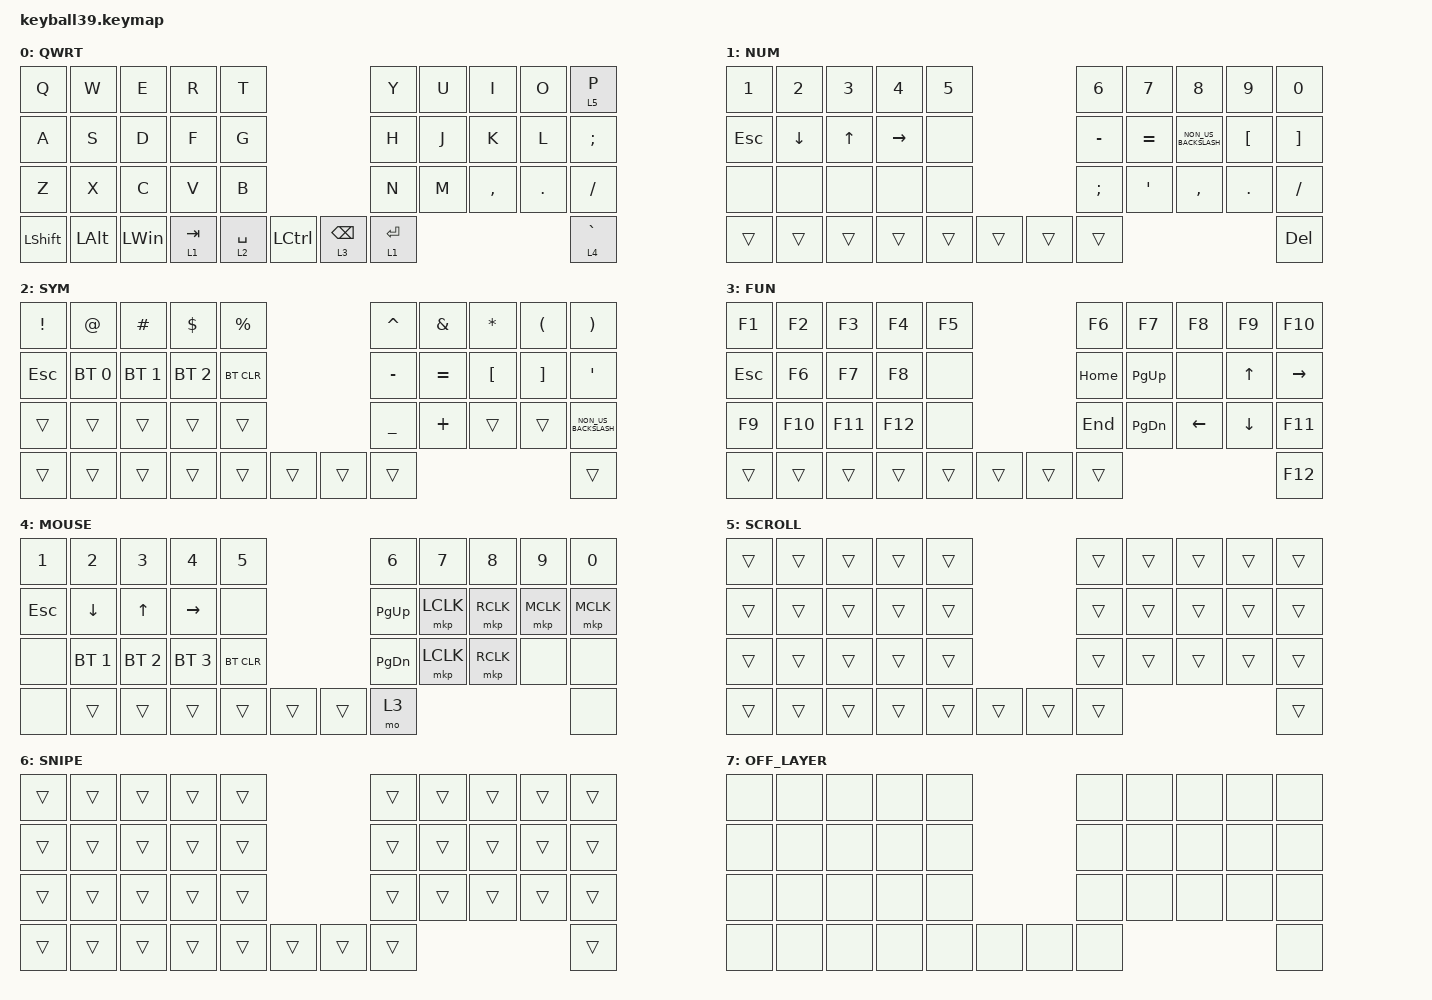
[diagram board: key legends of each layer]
#define DEFAULT 0
#define NUM     1
#define SYM     2
#define FUN     3
#define MOUSE   4
#define SCROLL  5
#define SNIPE   6

#include <behaviors/mouse_keys.dtsi>
#include <behaviors.dtsi>
#include <dt-bindings/zmk/bt.h>
#include <dt-bindings/zmk/keys.h>
#include <dt-bindings/zmk/mouse.h>

&lt {
    tapping-term-ms = <240>;
    flavor = "balanced";
    quick-tap-ms = <150>;
};

&mt {
    tapping-term-ms = <200>;
    flavor = "tap-preferred";
    quick-tap-ms = <150>;
};

&caps_word { continue-list = <UNDERSCORE MINUS>; };

/ {
    // custom shift using mod-morph 

    behaviors {
        cmqus: comma_question {
            compatible = "zmk,behavior-mod-morph";
            label = "COMMA_QUESTION";
            #binding-cells = <0>;
            bindings = <&kp COMMA>, <&kp QUESTION>;

            mods = <(MOD_LSFT|MOD_RSFT)>;
        };

        dtsmi: dot_semi {
            compatible = "zmk,behavior-mod-morph";
            label = "DOT_SEMI";
            #binding-cells = <0>;
            bindings = <&kp DOT>, <&kp SEMI>;

            mods = <(MOD_LSFT|MOD_RSFT)>;
        };
    };

    macros {
        Hiragana: Hiragana {
            compatible = "zmk,behavior-macro";
            #binding-cells = <0>;
            bindings = <&kp LC(SPACE)>;
            label = "HIRAGANA";
        };
    };

    combos {
        compatible = "zmk,combos";

        layer06 {
            bindings = <&to 7>;
            key-positions = <0 9>;
            timeout-ms = <10>;
            require-prior-idle-ms = <5>;
        };

        layer00 {
            bindings = <&to 0>;
            key-positions = <1 8>;
            timeout-ms = <10>;
            require-prior-idle-ms = <5>;
        };
    };

    keymap {
        compatible = "zmk,keymap";

        default_layer {
            label = "QWRT";
            bindings = <
&kp Q       &kp W         &kp E         &kp R      &kp T                                    &kp Y        &kp U  &kp I      &kp O    &lt 5 P
&kp A       &kp S         &kp D         &kp F      &kp G                                    &kp H        &kp J  &kp K      &kp L    &kp SEMI
&kp Z       &kp X         &kp C         &kp V      &kp B                                    &kp N        &kp M  &kp COMMA  &kp DOT  &kp SLASH
&kp LSHIFT  &kp LEFT_ALT  &kp LEFT_WIN  &lt 1 TAB  &lt 2 SPACE  &kp LCTRL  &lt 3 BACKSPACE  &lt 1 ENTER                             &lt 4 GRAVE
            >;
        };

        number_layer {
            label = "NUM";
            bindings = <
&kp NUMBER_1  &kp NUMBER_2  &kp NUMBER_3  &kp NUMBER_4  &kp NUMBER_5                  &kp NUMBER_6   &kp NUMBER_7      &kp NUMBER_8          &kp NUMBER_9      &kp NUMBER_0
&kp ESCAPE    &kp DOWN      &kp UP_ARROW  &kp RIGHT     &none                         &kp MINUS      &kp EQUAL         &kp NON_US_BACKSLASH  &kp LEFT_BRACKET  &kp RIGHT_BRACKET
&none         &none         &none         &none         &none                         &kp SEMICOLON  &kp SINGLE_QUOTE  &kp COMMA             &kp PERIOD        &kp SLASH
&trans        &trans        &trans        &trans        &trans        &trans  &trans  &trans                                                                   &kp DELETE
            >;
        };

        symbol_layer {
            label = "SYM";
            bindings = <
&kp EXCLAMATION  &kp AT_SIGN   &kp HASH      &kp DOLLAR    &kp PERCENT                  &kp CARET       &kp AMPERSAND  &kp ASTERISK      &kp LEFT_PARENTHESIS  &kp RIGHT_PARENTHESIS
&kp ESCAPE       &bt BT_SEL 0  &bt BT_SEL 1  &bt BT_SEL 2  &bt BT_CLR                   &kp MINUS       &kp EQUAL      &kp LEFT_BRACKET  &kp RIGHT_BRACKET     &kp SQT
&trans           &trans        &trans        &trans        &trans                       &kp UNDERSCORE  &kp PLUS       &trans            &trans                &kp NON_US_BACKSLASH
&trans           &trans        &trans        &trans        &trans       &trans  &trans  &trans                                                                 &trans
            >;
        };

        function_layer {
            label = "FUN";
            bindings = <
&kp F1      &kp F2   &kp F3   &kp F4   &kp F5                  &kp F6    &kp F7         &kp F8    &kp F9    &kp F10
&kp ESCAPE  &kp F6   &kp F7   &kp F8   &none                   &kp HOME  &kp PAGE_UP    &none     &kp UP    &kp RIGHT
&kp F9      &kp F10  &kp F11  &kp F12  &none                   &kp END   &kp PAGE_DOWN  &kp LEFT  &kp DOWN  &kp F11
&trans      &trans   &trans   &trans   &trans  &trans  &trans  &trans                                       &kp F12
            >;
        };

        mouse_layer {
            label = "MOUSE";
            bindings = <
&kp N1      &kp N2          &kp N3        &kp N4        &kp N5                      &kp N6         &kp N7     &kp N8     &kp N9     &kp N0
&kp ESCAPE  &kp DOWN_ARROW  &kp UP_ARROW  &kp RIGHT     &none                       &kp PAGE_UP    &mkp LCLK  &mkp RCLK  &mkp MCLK  &mkp MCLK
&none       &bt BT_SEL 1    &bt BT_SEL 2  &bt BT_SEL 3  &bt BT_CLR                  &kp PAGE_DOWN  &mkp LCLK  &mkp RCLK  &none      &none
&none       &trans          &trans        &trans        &trans      &trans  &trans  &mo 3                                           &none
            >;
        };

        scroll_layer {
            label = "SCROLL";
            bindings = <
&trans  &trans  &trans  &trans  &trans                  &trans  &trans  &trans  &trans  &trans
&trans  &trans  &trans  &trans  &trans                  &trans  &trans  &trans  &trans  &trans
&trans  &trans  &trans  &trans  &trans                  &trans  &trans  &trans  &trans  &trans
&trans  &trans  &trans  &trans  &trans  &trans  &trans  &trans                          &trans
            >;
        };

        snipe_layer {
            label = "SNIPE";
            bindings = <
&trans  &trans  &trans  &trans  &trans                  &trans  &trans  &trans  &trans  &trans
&trans  &trans  &trans  &trans  &trans                  &trans  &trans  &trans  &trans  &trans
&trans  &trans  &trans  &trans  &trans                  &trans  &trans  &trans  &trans  &trans
&trans  &trans  &trans  &trans  &trans  &trans  &trans  &trans                          &trans
            >;
        };

        OFF_LAYER {
            bindings = <
&none  &none  &none  &none  &none                &none  &none  &none  &none  &none
&none  &none  &none  &none  &none                &none  &none  &none  &none  &none
&none  &none  &none  &none  &none                &none  &none  &none  &none  &none
&none  &none  &none  &none  &none  &none  &none  &none                       &none
            >;
        };
    };
};
